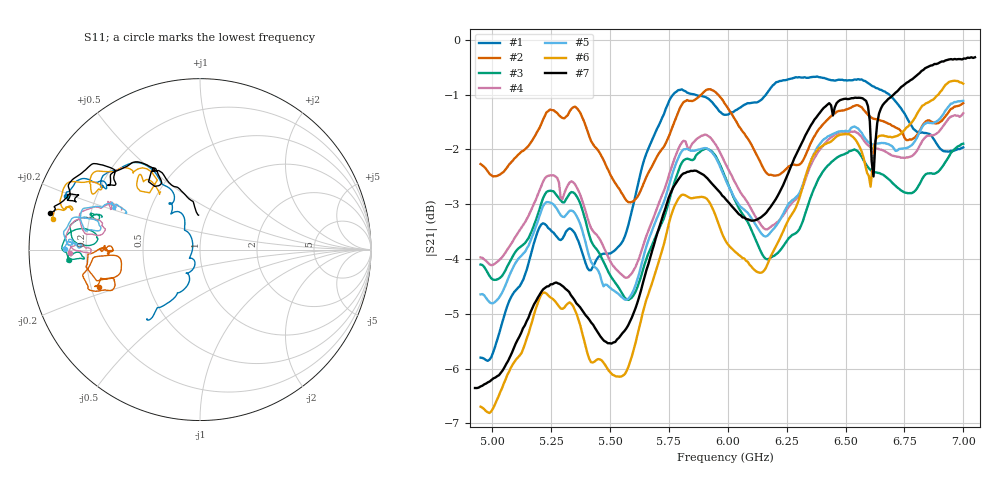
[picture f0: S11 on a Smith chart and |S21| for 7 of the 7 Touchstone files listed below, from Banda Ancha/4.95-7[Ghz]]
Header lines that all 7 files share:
! MS46122B
! 1919307/90821646
! CHANNEL.1
! TR.MEASUREMENT
! CORRECTED.DATA
# GHZ S RI R 50.0
! FREQ.GHZ  S11RE  S11IM  S21RE  S21IM  S12RE  S12IM  S22RE  S22IM
!; PortSelection: Port_12
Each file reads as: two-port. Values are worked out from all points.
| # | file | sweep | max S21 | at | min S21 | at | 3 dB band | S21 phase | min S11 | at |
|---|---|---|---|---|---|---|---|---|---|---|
| 1 | s11_s21_abs15_1002cL.s2p | 4.95 GHz to 7 GHz | -0.67 dB | 6.38 GHz | -5.9 dB | 4.98 GHz | 5.555 GHz-7 GHz | -161 deg at 5.979 GHz | -27.2 dB | 6.327 GHz |
| 2 | s11_s21_abs30_1002cLv2.s2p | 4.95 GHz to 7 GHz | -0.90 dB | 5.926 GHz | -3.0 dB | 5.585 GHz | 4.95 GHz-7 GHz | -85 deg at 5.979 GHz | -6.6 dB | 5.865 GHz |
| 3 | s11_s21_abs44_1002cL.s2p | 4.95 GHz to 7 GHz | -1.90 dB | 7 GHz | -4.7 dB | 5.578 GHz | 4.95 GHz-7 GHz | -105 deg at 5.979 GHz | -4.4 dB | 5.918 GHz |
| 4 | s11_s21_abs80_502cL.s2p | 4.95 GHz to 7 GHz | -1.34 dB | 7 GHz | -4.3 dB | 5.57 GHz | 4.95 GHz-7 GHz | -104 deg at 5.979 GHz | -5.8 dB | 6.992 GHz |
| 5 | s11_s21_abs100_502cL.s2p | 4.95 GHz to 7 GHz | -1.11 dB | 7 GHz | -4.8 dB | 4.995 GHz | 5.638 GHz-7 GHz | -111 deg at 5.979 GHz | -6.4 dB | 6.977 GHz |
| 6 | s11_s21_abs100_1002cL.s2p | 4.95 GHz to 7 GHz | -0.75 dB | 6.962 GHz | -6.8 dB | 4.988 GHz | 6.213 GHz-7 GHz | -129 deg at 5.979 GHz | -8.0 dB | 6.962 GHz |
| 7 | s11_s21_abs1000_100[ejemplo].s2p | 4.926 GHz to 7.05 GHz | -0.32 dB | 7.034 GHz | -6.4 dB | 4.934 GHz | 5.718 GHz-7.05 GHz | -132 deg at 5.992 GHz | -13.9 dB | 7.042 GHz |
